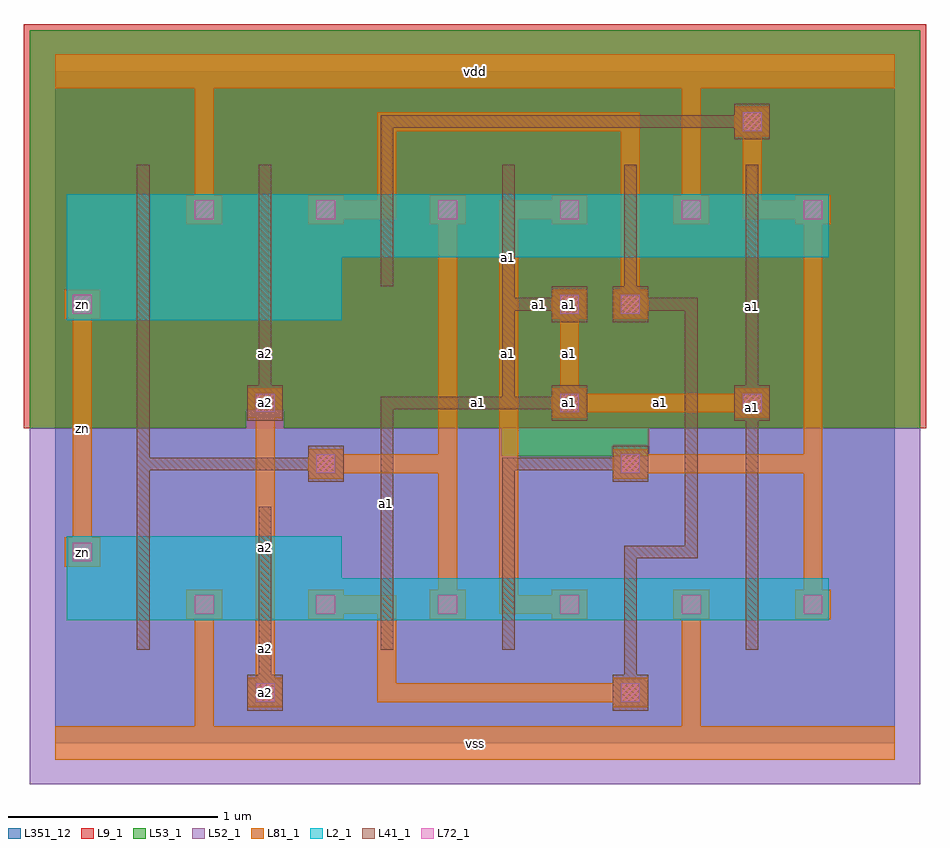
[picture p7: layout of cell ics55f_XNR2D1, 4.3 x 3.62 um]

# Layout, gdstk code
import gdstk
lib = gdstk.Library(unit=1e-6, precision=1e-09)
def R(c, l, rs):  # rectangles x0, y0, x1, y1
    for r in rs: c.add(gdstk.rectangle(r[:2], r[2:], *l))
def A(c, l, x, y, w, h, nx, ny, dx, dy):  # array of equal rectangles
    R(c, l, [(x+i*dx, y+j*dy, x+i*dx+w, y+j*dy+h) for i in range(nx) for j in range(ny)])
def P(c, l, *ps):  # polygons
    for p in ps: c.add(gdstk.Polygon(p, *l))
L0_0 = (0, 0)
L2_1 = (2, 1)
L9_1 = (9, 1)
L41_1 = (41, 1)
L52_1 = (52, 1)
L53_1 = (53, 1)
L72_1 = (72, 1)
L81_1 = (81, 1)
L351_12 = (351, 12)

ics55f_xnr2d1 = lib.new_cell('ics55f_XNR2D1')
A(ics55f_xnr2d1, L2_1, 0.635, 0.585, 0.15, 0.15, 6, 2, 0.58, 1.88)
A(ics55f_xnr2d1, L2_1, 1.215, 0.585, 0.73, 0.2, 4, 1, 0.58, 0)
A(ics55f_xnr2d1, L2_1, 1.215, 2.315, 0.73, 0.3, 4, 1, 0.58, 0)
R(ics55f_xnr2d1, L2_1, [(0.055,0.585,0.785,0.985), (0.635,0.585,1.365,0.985), (0.055,0.835,0.205,0.985), (0.055,2.015,0.785,2.615), (0.055,2.015,0.205,2.165), (0.635,2.015,1.365,2.615)])
R(ics55f_xnr2d1, L9_1, [(-0.15,1.5,4.15,3.425)])
A(ics55f_xnr2d1, L41_1, 1.55, 0.445, 0.06, 0.48, 4, 1, 0.58, 0)
A(ics55f_xnr2d1, L41_1, 1.55, 2.175, 0.06, 0.58, 4, 1, 0.58, 0)
R(ics55f_xnr2d1, L41_1, [(0.915,0.155,1.085,0.325), (2.655,0.155,2.825,0.325), (0.97,0.21,1.03,0.69), (2.71,0.21,2.77,0.69), (0.39,0.445,0.45,1.125), (0.97,0.445,1.03,1.125), (1.55,0.63,1.61,1.65), (2.13,0.63,2.19,1.36), (2.71,0.63,2.77,0.94), (3.29,0.63,3.35,2.57), (0.39,0.88,0.45,1.36), (2.71,0.88,3.06,0.94), (3,0.88,3.06,2.12), (1.205,1.245,1.375,1.415), (2.655,1.245,2.825,1.415), (0.39,1.3,1.32,1.36), (0.39,1.3,0.45,2.12), (2.13,1.3,2.77,1.36), (0.915,1.535,1.085,1.705), (2.365,1.535,2.535,1.705), (3.235,1.535,3.405,1.705), (3.235,1.535,3.405,1.705), (0.97,1.59,1.03,2.12), (1.55,1.59,2.48,1.65), (2.13,1.59,2.19,2.12), (3.29,1.59,3.35,2.57), (0.39,1.875,0.45,2.755), (0.97,1.875,1.03,2.755), (2.365,2.005,2.535,2.175), (2.655,2.005,2.825,2.175), (2.13,2.06,2.48,2.12), (2.13,2.06,2.19,2.57), (2.71,2.06,3.06,2.12), (2.71,2.06,2.77,2.57), (1.55,2.51,1.61,2.99), (3.235,2.875,3.405,3.045), (1.55,2.93,3.35,2.99)])
P(ics55f_xnr2d1, L52_1, [(-0.12,-0.195),(-0.12,1.5),(0.91,1.5),(0.91,1.585),(1.09,1.585),(1.09,1.5),(2.127,1.5),(2.127,1.365),(2.827,1.365),(2.827,1.5),(4.12,1.5),(4.12,-0.195)])
P(ics55f_xnr2d1, L53_1, [(2.127,1.365),(2.127,1.5),(1.09,1.5),(1.09,1.585),(0.91,1.585),(0.91,1.5),(-0.12,1.5),(-0.12,3.395),(4.12,3.395),(4.12,1.5),(2.827,1.5),(2.827,1.365)])
A(ics55f_xnr2d1, L72_1, 0.665, 0.615, 0.09, 0.09, 6, 2, 0.58, 1.88)
R(ics55f_xnr2d1, L72_1, [(0.955,0.195,1.045,0.285), (2.695,0.195,2.785,0.285), (0.085,0.865,0.175,0.955), (1.245,1.285,1.335,1.375), (2.695,1.285,2.785,1.375), (0.955,1.575,1.045,1.665), (2.405,1.575,2.495,1.665), (3.275,1.575,3.365,1.665), (3.275,1.575,3.365,1.665), (0.085,2.045,0.175,2.135), (2.405,2.045,2.495,2.135), (2.695,2.045,2.785,2.135), (3.275,2.915,3.365,3.005)])
P(ics55f_xnr2d1, L81_1, [(2.655,0.17),(2.655,0.195),(1.535,0.195),(1.535,0.615),(1.375,0.615),(1.375,0.59),(1.205,0.59),(1.205,0.73),(1.375,0.73),(1.375,0.705),(1.625,0.705),(1.625,0.285),(2.655,0.285),(2.655,0.31),(2.825,0.31),(2.825,0.17)],
  [(0,-0.08),(0,0.08),(0.665,0.08),(0.665,0.59),(0.625,0.59),(0.625,0.73),(0.795,0.73),(0.795,0.59),(0.755,0.59),(0.755,0.08),(2.985,0.08),(2.985,0.59),(2.945,0.59),(2.945,0.73),(3.115,0.73),(3.115,0.59),(3.075,0.59),(3.075,0.08),(4,0.08),(4,-0.08)],
  [(0.915,0.17),(0.915,0.31),(0.955,0.31),(0.955,1.55),(0.915,1.55),(0.915,1.69),(1.085,1.69),(1.085,1.55),(1.045,1.55),(1.045,0.31),(1.085,0.31),(1.085,0.17)],
  [(0.045,0.84),(0.045,0.98),(0.085,0.98),(0.085,2.02),(0.045,2.02),(0.045,2.16),(0.215,2.16),(0.215,2.02),(0.175,2.02),(0.175,0.98),(0.215,0.98),(0.215,0.84)],
  [(2.365,1.55),(2.365,1.69),(2.405,1.69),(2.405,2.02),(2.365,2.02),(2.365,2.16),(2.535,2.16),(2.535,2.02),(2.495,2.02),(2.495,1.69),(2.535,1.69),(2.535,1.665),(3.235,1.665),(3.235,1.69),(3.405,1.69),(3.405,1.55),(3.235,1.55),(3.235,1.575),(2.535,1.575),(2.535,1.55)],
  [(1.785,0.59),(1.785,0.73),(1.825,0.73),(1.825,1.285),(1.375,1.285),(1.375,1.26),(1.205,1.26),(1.205,1.4),(1.375,1.4),(1.375,1.375),(1.825,1.375),(1.825,2.47),(1.785,2.47),(1.785,2.61),(1.955,2.61),(1.955,2.47),(1.915,2.47),(1.915,0.73),(1.955,0.73),(1.955,0.59)],
  [(2.365,0.59),(2.365,0.615),(2.115,0.615),(2.115,2.585),(2.365,2.585),(2.365,2.61),(2.535,2.61),(2.535,2.47),(2.365,2.47),(2.365,2.495),(2.205,2.495),(2.205,0.705),(2.365,0.705),(2.365,0.73),(2.535,0.73),(2.535,0.59)],
  [(2.655,2.02),(2.655,2.16),(2.695,2.16),(2.695,2.915),(1.625,2.915),(1.625,2.495),(1.375,2.495),(1.375,2.47),(1.205,2.47),(1.205,2.61),(1.375,2.61),(1.375,2.585),(1.535,2.585),(1.535,3.005),(2.785,3.005),(2.785,2.16),(2.825,2.16),(2.825,2.02)],
  [(3.525,0.59),(3.525,0.73),(3.565,0.73),(3.565,1.285),(2.825,1.285),(2.825,1.26),(2.655,1.26),(2.655,1.4),(2.825,1.4),(2.825,1.375),(3.565,1.375),(3.565,2.47),(3.525,2.47),(3.525,2.495),(3.275,2.495),(3.275,2.89),(3.235,2.89),(3.235,3.03),(3.405,3.03),(3.405,2.89),(3.365,2.89),(3.365,2.585),(3.525,2.585),(3.525,2.61),(3.695,2.61),(3.695,2.47),(3.655,2.47),(3.655,0.73),(3.695,0.73),(3.695,0.59)],
  [(0.625,2.47),(0.625,2.61),(0.665,2.61),(0.665,3.12),(0,3.12),(0,3.28),(4,3.28),(4,3.12),(3.075,3.12),(3.075,2.61),(3.115,2.61),(3.115,2.47),(2.945,2.47),(2.945,2.61),(2.985,2.61),(2.985,3.12),(0.755,3.12),(0.755,2.61),(0.795,2.61),(0.795,2.47)])
R(ics55f_xnr2d1, L351_12, [(0,0,4,3.2)])
ics55f_xnr2d1.add(gdstk.FlexPath([(0.045,0.24),(3.695,0.24)], 0, ends="flush", simple_path=True, layer=0, datatype=0))  # L0_0
ics55f_xnr2d1.add(gdstk.FlexPath([(0.045,0.66),(3.695,0.66)], 0, ends="flush", simple_path=True, layer=0, datatype=0))  # L0_0
ics55f_xnr2d1.add(gdstk.FlexPath([(0.045,0.91),(3.695,0.91)], 0, ends="flush", simple_path=True, layer=0, datatype=0))  # L0_0
ics55f_xnr2d1.add(gdstk.FlexPath([(0.045,1.33),(3.695,1.33)], 0, ends="flush", simple_path=True, layer=0, datatype=0))  # L0_0
ics55f_xnr2d1.add(gdstk.FlexPath([(0.045,1.62),(3.695,1.62)], 0, ends="flush", simple_path=True, layer=0, datatype=0))  # L0_0
ics55f_xnr2d1.add(gdstk.FlexPath([(0.045,2.09),(3.695,2.09)], 0, ends="flush", simple_path=True, layer=0, datatype=0))  # L0_0
ics55f_xnr2d1.add(gdstk.FlexPath([(0.045,2.54),(3.695,2.54)], 0, ends="flush", simple_path=True, layer=0, datatype=0))  # L0_0
ics55f_xnr2d1.add(gdstk.FlexPath([(0.045,2.96),(3.695,2.96)], 0, ends="flush", simple_path=True, layer=0, datatype=0))  # L0_0
ics55f_xnr2d1.add(gdstk.FlexPath([(0.13,0.03),(0.13,3.17)], 0, ends="flush", simple_path=True, layer=0, datatype=0))  # L0_0
ics55f_xnr2d1.add(gdstk.FlexPath([(0.42,0.03),(0.42,3.17)], 0, ends="flush", simple_path=True, layer=0, datatype=0))  # L0_0
ics55f_xnr2d1.add(gdstk.FlexPath([(0.71,0.03),(0.71,3.17)], 0, ends="flush", simple_path=True, layer=0, datatype=0))  # L0_0
ics55f_xnr2d1.add(gdstk.FlexPath([(1,0.03),(1,3.17)], 0, ends="flush", simple_path=True, layer=0, datatype=0))  # L0_0
ics55f_xnr2d1.add(gdstk.FlexPath([(1.29,0.03),(1.29,3.17)], 0, ends="flush", simple_path=True, layer=0, datatype=0))  # L0_0
ics55f_xnr2d1.add(gdstk.FlexPath([(1.58,0.03),(1.58,3.17)], 0, ends="flush", simple_path=True, layer=0, datatype=0))  # L0_0
ics55f_xnr2d1.add(gdstk.FlexPath([(1.87,0.03),(1.87,3.17)], 0, ends="flush", simple_path=True, layer=0, datatype=0))  # L0_0
ics55f_xnr2d1.add(gdstk.FlexPath([(2.16,0.03),(2.16,3.17)], 0, ends="flush", simple_path=True, layer=0, datatype=0))  # L0_0
ics55f_xnr2d1.add(gdstk.FlexPath([(2.45,0.03),(2.45,3.17)], 0, ends="flush", simple_path=True, layer=0, datatype=0))  # L0_0
ics55f_xnr2d1.add(gdstk.FlexPath([(2.74,0.03),(2.74,3.17)], 0, ends="flush", simple_path=True, layer=0, datatype=0))  # L0_0
ics55f_xnr2d1.add(gdstk.FlexPath([(3.03,0.03),(3.03,3.17)], 0, ends="flush", simple_path=True, layer=0, datatype=0))  # L0_0
ics55f_xnr2d1.add(gdstk.FlexPath([(3.32,0.03),(3.32,3.17)], 0, ends="flush", simple_path=True, layer=0, datatype=0))  # L0_0
ics55f_xnr2d1.add(gdstk.FlexPath([(3.61,0.03),(3.61,3.17)], 0, ends="flush", simple_path=True, layer=0, datatype=0))  # L0_0
ics55f_xnr2d1.add(gdstk.Label('zn', (0.13,0.91), layer=2, texttype=1))
ics55f_xnr2d1.add(gdstk.Label('zn', (0.13,2.09), layer=2, texttype=1))
ics55f_xnr2d1.add(gdstk.Label('a2', (1,0.45), layer=41, texttype=1))
ics55f_xnr2d1.add(gdstk.Label('a2', (1,0.24), layer=41, texttype=1))
ics55f_xnr2d1.add(gdstk.Label('a2', (1,1.62), layer=41, texttype=1))
ics55f_xnr2d1.add(gdstk.Label('a2', (1,1.855), layer=41, texttype=1))
ics55f_xnr2d1.add(gdstk.Label('a1', (3.32,1.6), layer=41, texttype=1))
ics55f_xnr2d1.add(gdstk.Label('a1', (3.32,1.62), layer=41, texttype=1))
ics55f_xnr2d1.add(gdstk.Label('a1', (2.45,2.09), layer=41, texttype=1))
ics55f_xnr2d1.add(gdstk.Label('a1', (2.305,2.09), layer=41, texttype=1))
ics55f_xnr2d1.add(gdstk.Label('a1', (2.16,2.315), layer=41, texttype=1))
ics55f_xnr2d1.add(gdstk.Label('a1', (1.58,1.14), layer=41, texttype=1))
ics55f_xnr2d1.add(gdstk.Label('a1', (2.015,1.62), layer=41, texttype=1))
ics55f_xnr2d1.add(gdstk.Label('a1', (2.45,1.62), layer=41, texttype=1))
ics55f_xnr2d1.add(gdstk.Label('a1', (3.32,1.62), layer=41, texttype=1))
ics55f_xnr2d1.add(gdstk.Label('a1', (3.32,2.08), layer=41, texttype=1))
ics55f_xnr2d1.add(gdstk.Label('a1', (2.16,1.855), layer=41, texttype=1))
ics55f_xnr2d1.add(gdstk.Label('a2', (1,0.24), layer=72, texttype=1))
ics55f_xnr2d1.add(gdstk.Label('a2', (1,1.62), layer=72, texttype=1))
ics55f_xnr2d1.add(gdstk.Label('zn', (0.13,0.91), layer=72, texttype=1))
ics55f_xnr2d1.add(gdstk.Label('zn', (0.13,2.09), layer=72, texttype=1))
ics55f_xnr2d1.add(gdstk.Label('a1', (3.32,1.62), layer=72, texttype=1))
ics55f_xnr2d1.add(gdstk.Label('a1', (2.45,2.09), layer=72, texttype=1))
ics55f_xnr2d1.add(gdstk.Label('a1', (2.45,1.62), layer=72, texttype=1))
ics55f_xnr2d1.add(gdstk.Label('a1', (3.32,1.62), layer=72, texttype=1))
ics55f_xnr2d1.add(gdstk.Label('a2', (1,0.24), layer=81, texttype=6))
ics55f_xnr2d1.add(gdstk.Label('a2', (1,0.93), layer=81, texttype=6))
ics55f_xnr2d1.add(gdstk.Label('a2', (1,1.62), layer=81, texttype=6))
ics55f_xnr2d1.add(gdstk.Label('zn', (0.13,0.91), layer=81, texttype=6))
ics55f_xnr2d1.add(gdstk.Label('zn', (0.13,2.09), layer=81, texttype=6))
ics55f_xnr2d1.add(gdstk.Label('zn', (0.13,1.5), layer=81, texttype=6))
ics55f_xnr2d1.add(gdstk.Label('a1', (3.32,1.62), layer=81, texttype=6))
ics55f_xnr2d1.add(gdstk.Label('a1', (2.885,1.62), layer=81, texttype=6))
ics55f_xnr2d1.add(gdstk.Label('a1', (2.45,1.855), layer=81, texttype=6))
ics55f_xnr2d1.add(gdstk.Label('a1', (2.45,2.09), layer=81, texttype=6))
ics55f_xnr2d1.add(gdstk.Label('a1', (2.45,1.62), layer=81, texttype=6))
ics55f_xnr2d1.add(gdstk.Label('a1', (2.885,1.62), layer=81, texttype=6))
ics55f_xnr2d1.add(gdstk.Label('a1', (3.32,1.62), layer=81, texttype=6))
ics55f_xnr2d1.add(gdstk.Label('vss', (2,0), layer=81, texttype=6))
ics55f_xnr2d1.add(gdstk.Label('vdd', (2,3.2), layer=81, texttype=6))

lib.write_gds('ics55f_XNR2D1.gds')
